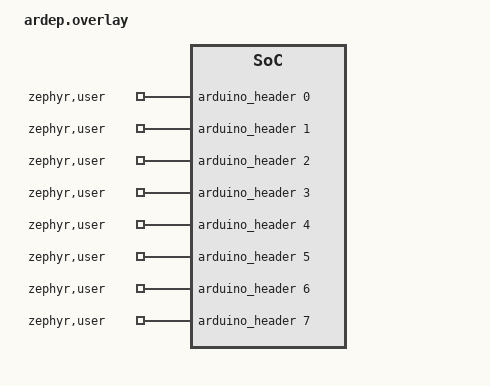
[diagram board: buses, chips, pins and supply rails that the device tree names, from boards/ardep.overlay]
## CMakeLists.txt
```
# SPDX-FileCopyrightText: Copyright (C) Frickly Systems GmbH
# SPDX-FileCopyrightText: Copyright (C) MBition GmbH
#
# SPDX-License-Identifier: Apache-2.0

cmake_minimum_required(VERSION 3.20.0)
find_package(Zephyr REQUIRED HINTS $ENV{ZEPHYR_BASE})
project(hardware_tester)

FILE(GLOB app_sources src/*.c)
target_sources(app PRIVATE ${app_sources})
```

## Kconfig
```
# Copyright (C) Frickly Systems GmbH
# Copyright (C) MBition GmbH
#
# SPDX-License-Identifier: Apache-2.0

menu "Zephyr"
source "Kconfig.zephyr"
endmenu

module = APP
module-str = APP
source "subsys/logging/Kconfig.template.log_config"

config POST_TEST_DELAY_MS
    int "Post-test delay in milliseconds"
    default 300
    help
      Delay after tests are finished and before the device is stopped (if applicable).

config LIN_TEST_DURATION_MS
    int "LIN test duration in milliseconds"
    default 5000
    help
      Duration for which the LIN tests will run.

config CAN_TEST_DURATION_MS
    int "CAN test duration in milliseconds"
    default 5000
    help
      Duration for which the CAN tests will run.

config UART_PRE_TEST_DELAY_MS
    int "UART pre-test delay in milliseconds"
    default 500
    help
      Delay before sending UART characters.

config UART_CHAR_DELAY_MS
    int "UART character delay in milliseconds"
    default 5
    help
      Delay between sending individual characters.

config GPIO_PRE_TEST_DELAY_MS
    int "GPIO pre-test delay in milliseconds"
    default 100
    help
      Delay before starting GPIO tests.

config GPIO_PIN_CHECK_DELAY_MS
    int "GPIO pin check delay in milliseconds"
    default 1
    help
      Delay between GPIO pin state checks.

config GPIO_PIN_ACTIVE_DELAY_MS
    int "GPIO pin active delay in milliseconds"
    default 3
    help
      Delay after pin becomes active before validation.

config GPIO_PIN_TIMEOUT_MS
    int "GPIO pin timeout in milliseconds"
    default 600
    help
      Timeout for waiting for GPIO pin to become active.
```

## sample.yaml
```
# Copyright (C) Frickly Systems GmbH
# Copyright (C) MBition GmbH

sample:
  name: Hardware Tester
  description: Firmware receiving test data from the SUT
common:
  build_only: true
  integration_platforms:
    - ardep
tests:
  sample.hardware_tester:
    integration_platforms:
      - ardep
```

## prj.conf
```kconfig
CONFIG_LOG=y
CONFIG_LOG_BACKEND_SHOW_COLOR=n
CONFIG_APP_LOG_LEVEL_INF=y
CONFIG_LOG_BUFFER_SIZE=2048

# get raw timestamp in [ms]
CONFIG_LOG_BACKEND_FORMAT_TIMESTAMP=n

CONFIG_SERIAL=y
CONFIG_UART_INTERRUPT_DRIVEN=y

CONFIG_CONSOLE_SUBSYS=y
CONFIG_CONSOLE_GETLINE=y

CONFIG_GPIO=y
CONFIG_HWINFO=y
CONFIG_CAN=y

# Disable UDS for no error logs
CONFIG_UDS=n

CONFIG_USB_DEVICE_PRODUCT="ARDEP Board TESTER"

CONFIG_CAN_TEST_DURATION_MS=2500
```

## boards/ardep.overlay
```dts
/*
 * SPDX-FileCopyrightText: Copyright (C) Frickly Systems GmbH
 * SPDX-FileCopyrightText: Copyright (C) MBition GmbH
 *
 * SPDX-License-Identifier: Apache-2.0
 */

/ {
    zephyr,user {
        gpios = <&arduino_header 0 (GPIO_ACTIVE_HIGH | GPIO_PULL_UP)>,
                <&arduino_header 1 (GPIO_ACTIVE_HIGH | GPIO_PULL_UP)>,
                <&arduino_header 2 (GPIO_ACTIVE_HIGH | GPIO_PULL_UP)>,
                <&arduino_header 3 (GPIO_ACTIVE_HIGH | GPIO_PULL_UP)>,
                <&arduino_header 4 (GPIO_ACTIVE_HIGH | GPIO_PULL_UP)>,
                <&arduino_header 5 (GPIO_ACTIVE_HIGH | GPIO_PULL_UP)>,
                <&arduino_header 6 (GPIO_ACTIVE_HIGH | GPIO_PULL_UP)>,
                <&arduino_header 7 (GPIO_ACTIVE_HIGH | GPIO_PULL_UP)>,
                <&arduino_header 8 (GPIO_ACTIVE_HIGH | GPIO_PULL_UP)>,
                <&arduino_header 9 (GPIO_ACTIVE_HIGH | GPIO_PULL_UP)>,
                <&arduino_header 10 (GPIO_ACTIVE_HIGH | GPIO_PULL_UP)>,
                <&arduino_header 11 (GPIO_ACTIVE_HIGH | GPIO_PULL_UP)>,
                <&arduino_header 12 (GPIO_ACTIVE_HIGH | GPIO_PULL_UP)>,
                <&arduino_header 13 (GPIO_ACTIVE_HIGH | GPIO_PULL_UP)>,
                <&arduino_header 14 (GPIO_ACTIVE_HIGH | GPIO_PULL_UP)>,
                <&arduino_header 15 (GPIO_ACTIVE_HIGH | GPIO_PULL_UP)>,
                <&arduino_header 16 (GPIO_ACTIVE_HIGH | GPIO_PULL_UP)>,
                <&arduino_header 17 (GPIO_ACTIVE_HIGH | GPIO_PULL_UP)>,
                <&arduino_header 18 (GPIO_ACTIVE_HIGH | GPIO_PULL_UP)>,
                <&arduino_header 19 (GPIO_ACTIVE_HIGH | GPIO_PULL_UP)>,
                <&arduino_header 20 (GPIO_ACTIVE_HIGH | GPIO_PULL_UP)>,
                <&arduino_header 21 (GPIO_ACTIVE_HIGH | GPIO_PULL_UP)>,

                <&gpioe 15 (GPIO_ACTIVE_HIGH | GPIO_PULL_UP)>, // HV Shield 1
                <&gpioe 14 (GPIO_ACTIVE_HIGH | GPIO_PULL_UP)>,
                <&gpioe 13 (GPIO_ACTIVE_HIGH | GPIO_PULL_UP)>,
                <&gpioe 12 (GPIO_ACTIVE_HIGH | GPIO_PULL_UP)>, // HV 4
                <&gpioe 11 (GPIO_ACTIVE_HIGH | GPIO_PULL_UP)>, // HV 7
                <&gpioe 10 (GPIO_ACTIVE_HIGH | GPIO_PULL_UP)>,
                <&gpioe 9 (GPIO_ACTIVE_HIGH | GPIO_PULL_UP)>,
                <&gpioe 8 (GPIO_ACTIVE_HIGH | GPIO_PULL_UP)>,
                <&gpioe 7 (GPIO_ACTIVE_HIGH | GPIO_PULL_UP)>,
                <&gpiob 2 (GPIO_ACTIVE_HIGH | GPIO_PULL_UP)>,
                <&gpiob 1 (GPIO_ACTIVE_HIGH | GPIO_PULL_UP)>,
                <&gpioc 5 (GPIO_ACTIVE_HIGH | GPIO_PULL_UP)>, // HV 14
                <&gpioc 4 (GPIO_ACTIVE_HIGH | GPIO_PULL_UP)>, // HV 17
                <&gpioa 6 (GPIO_ACTIVE_HIGH | GPIO_PULL_UP)>, // HV 19
                <&gpioa 5 (GPIO_ACTIVE_HIGH | GPIO_PULL_UP)>,
                <&gpioa 4 (GPIO_ACTIVE_HIGH | GPIO_PULL_UP)>,
                <&gpioa 2 (GPIO_ACTIVE_HIGH | GPIO_PULL_UP)>,
                <&gpioa 0 (GPIO_ACTIVE_HIGH | GPIO_PULL_UP)>,
                <&gpiof 2 (GPIO_ACTIVE_HIGH | GPIO_PULL_UP)>,
                <&gpioc 2 (GPIO_ACTIVE_HIGH | GPIO_PULL_UP)>,
                <&gpioc 0 (GPIO_ACTIVE_HIGH | GPIO_PULL_UP)>, // HV 26
                <&gpiof 10 (GPIO_ACTIVE_HIGH | GPIO_PULL_UP)>, // HV 29
                <&gpiof 9 (GPIO_ACTIVE_HIGH | GPIO_PULL_UP)>,
                <&gpioc 15 (GPIO_ACTIVE_HIGH | GPIO_PULL_UP)>,
                <&gpioc 14 (GPIO_ACTIVE_HIGH | GPIO_PULL_UP)> // HV 3
                ;
                
        uarts = <&uart_a>, 
                <&uart_b>;
        
        cans = <&can_a>,
               <&can_b>;
               
        lins = <&lin_uart>;
    };
};

&arduino_i2c {
    status = "disabled";
};

&arduino_spi {
    status = "disabled";
};

&arduino_serial {
    status = "disabled";
};

&adc1 {
    status = "disabled";
};

&adc2 {
    status = "disabled";
};

&adc3 {
    status = "disabled";
};

&adc4 {
    status = "disabled";
};

&dac1 {
    status = "disabled";
};

&dac2 {
    status = "disabled";
};
```

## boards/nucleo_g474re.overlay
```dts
/*
 * SPDX-FileCopyrightText: Copyright (C) Frickly Systems GmbH
 * SPDX-FileCopyrightText: Copyright (C) MBition GmbH
 *
 * SPDX-License-Identifier: Apache-2.0
 */

/ {
    zephyr,user {
        gpios = <&gpioc 1 GPIO_ACTIVE_HIGH>,
                <&gpioc 5 GPIO_ACTIVE_HIGH>,
                <&gpiob 2 GPIO_ACTIVE_HIGH>;

        uarts = // <&usart1>,
                <&usart2>;

        cans = <&can_a>;

        lins = <&usart2>;
    };
};

&usart1 {
    pinctrl-0 = <&usart1_tx_pc4 &usart1_rx_pc5>;
    pinctrl-names = "default";
    current-speed = <115200>;
    status = "okay";
};

&usart2 {
    pinctrl-0 = <&usart2_tx_pb3 &usart2_rx_pb4>;
    pinctrl-names = "default";
    current-speed = <115200>;
    status = "okay";
};

can_a: &fdcan1 {
    bitrate = <500000>;
    bitrate-data = <2000000>;
    status = "okay";
};
```

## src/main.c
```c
/*
 * SPDX-FileCopyrightText: Copyright (C) Frickly Systems GmbH
 * SPDX-FileCopyrightText: Copyright (C) MBition GmbH
 *
 * SPDX-License-Identifier: Apache-2.0
 */

#include "zephyr/devicetree.h"
#include "zephyr/drivers/gpio.h"
#include "zephyr/logging/log.h"
#include "zephyr/sys/printk.h"

#include <string.h>

#include <zephyr/console/console.h>
#include <zephyr/kernel.h>

#define LOG_MODULE_NAME tester
LOG_MODULE_REGISTER(LOG_MODULE_NAME, CONFIG_APP_LOG_LEVEL);

#define COMMAND_MAX_LEN 64
#define COMMAND_QUEUE_LEN 4
#define COMMAND_RECEIVER_STACK_SIZE 1024
#define COMMAND_DISPATCH_STACK_SIZE 2048

K_MSGQ_DEFINE(command_queue, COMMAND_MAX_LEN, COMMAND_QUEUE_LEN, 4);
K_MUTEX_DEFINE(command_mutex);

K_THREAD_STACK_DEFINE(command_receiver_stack, COMMAND_RECEIVER_STACK_SIZE);
K_THREAD_STACK_DEFINE(command_dispatch_stack, COMMAND_DISPATCH_STACK_SIZE);

static struct k_thread command_receiver_thread_data;
static struct k_thread command_dispatch_thread_data;

void gpio_test(void);
void log_hardware_info(void);
void uart_test(void);
void can_test(void);
void lin_test(void);

static void command_receiver_thread(void* p1, void* p2, void* p3);
static void command_dispatch_thread(void* p1, void* p2, void* p3);

int main() {
  console_getline_init();
  LOG_INF("Test Runner Firmware started");

  k_tid_t receiver_tid = k_thread_create(
      &command_receiver_thread_data, command_receiver_stack,
      K_THREAD_STACK_SIZEOF(command_receiver_stack), command_receiver_thread,
      NULL, NULL, NULL, K_PRIO_PREEMPT(1), 0, K_NO_WAIT);

  k_tid_t dispatch_tid = k_thread_create(
      &command_dispatch_thread_data, command_dispatch_stack,
      K_THREAD_STACK_SIZEOF(command_dispatch_stack), command_dispatch_thread,
      NULL, NULL, NULL, K_PRIO_PREEMPT(1), 0, K_NO_WAIT);

  k_thread_name_set(receiver_tid, "cmd_rx");
  k_thread_name_set(dispatch_tid, "cmd_dispatch");

  while (true) {
    k_msleep(1000);
  }
}

static void execute_command(const char* command) {
  if (strcmp(command, "hwInfo start") == 0) {
    LOG_INF("hwInfo start");
    log_hardware_info();
    LOG_INF("hwInfo stop");
  } else if (strcmp(command, "gpio start") == 0) {
    LOG_INF("gpio start");
    gpio_test();
    LOG_INF("gpio stop");
  } else if (strcmp(command, "can start") == 0) {
    LOG_INF("can start");
    can_test();
    LOG_INF("can stop");
  } else if (strcmp(command, "lin start") == 0) {
    LOG_INF("lin start");
    lin_test();
    LOG_INF("lin stop");
  } else if (strcmp(command, "uart start") == 0) {
    LOG_INF("uart start");
    uart_test();
    LOG_INF("uart stop");
  } else {
    LOG_ERR("Unknown command: %s", command);
  }
}

static void dispatch_command(const char* command) {
  int err = k_mutex_lock(&command_mutex, K_FOREVER);

  if (err != 0) {
    LOG_ERR("Failed to lock command mutex (err %d)", err);
    return;
  }

  execute_command(command);

  err = k_mutex_unlock(&command_mutex);
  if (err != 0) {
    LOG_ERR("Failed to unlock command mutex (err %d)", err);
  }
}

static void handle_console_input(void) {
  char* input = console_getline();

  if (input == NULL) {
    return;
  }

  size_t length = strlen(input);
  if (length >= COMMAND_MAX_LEN) {
    LOG_WRN("Command too long, will be truncated");
  }

  char command[COMMAND_MAX_LEN];
  memset(command, 0, sizeof(command));
  strncpy(command, input, sizeof(command) - 1);

  if (strcmp("idle", command) == 0) {
    int err = k_mutex_lock(&command_mutex, K_NO_WAIT);
    if (err != 0) {
      LOG_INF("idle false");
    } else {
      LOG_INF("idle true");
    }
    k_mutex_unlock(&command_mutex);

    return;
  }

  int err = k_msgq_put(&command_queue, command, K_FOREVER);
  if (err != 0) {
    LOG_ERR("Failed to enqueue command (err %d)", err);
  }
}

static void command_receiver_thread(void* p1, void* p2, void* p3) {
  ARG_UNUSED(p1);
  ARG_UNUSED(p2);
  ARG_UNUSED(p3);

  while (true) {
    handle_console_input();
  }
}

static void command_dispatch_thread(void* p1, void* p2, void* p3) {
  ARG_UNUSED(p1);
  ARG_UNUSED(p2);
  ARG_UNUSED(p3);

  char command[COMMAND_MAX_LEN];

  while (true) {
    int err = k_msgq_get(&command_queue, command, K_FOREVER);

    if (err != 0) {
      LOG_ERR("Failed to retrieve command (err %d)", err);
      continue;
    }

    command[COMMAND_MAX_LEN - 1] = '\0';

    dispatch_command(command);
  }
}
```

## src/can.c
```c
/*
 * SPDX-FileCopyrightText: Copyright (C) Frickly Systems GmbH
 * SPDX-FileCopyrightText: Copyright (C) MBition GmbH
 *
 * SPDX-License-Identifier: Apache-2.0
 */

#include "zephyr/device.h"
#include "zephyr/devicetree.h"
#include "zephyr/drivers/can.h"
#include "zephyr/logging/log.h"
#include "zephyr/sys/printk.h"

#include <zephyr/kernel.h>

#define LOG_MODULE_NAME tester
LOG_MODULE_DECLARE(LOG_MODULE_NAME, CONFIG_APP_LOG_LEVEL);

#define DEVICE_DT_BY_PROP_IDX(node_id, prop, idx) \
  DEVICE_DT_GET(DT_PHANDLE_BY_IDX(node_id, prop, idx))

#define ZEPHYR_USER_NODE DT_PATH(zephyr_user)

static const struct device* const can_devices[] = {DT_FOREACH_PROP_ELEM_SEP(
    ZEPHYR_USER_NODE, cans, DEVICE_DT_BY_PROP_IDX, (, ))};

static int rx_filters[ARRAY_SIZE(can_devices)];

static void rx_callback(const struct device* dev,
                        struct can_frame* frame,
                        void* user_data) {
  LOG_INF("%s: frame id: %x, data: %x", dev->name, frame->id, frame->data[0]);
}

const struct can_filter receive_frame_filter = {
  .flags = 0, .id = 0x65, .mask = CAN_STD_ID_MASK};

static void init_can(void) {
  for (int i = 0; i < ARRAY_SIZE(can_devices); i++) {
    const struct device* dev = can_devices[i];
    int err;

    if (!device_is_ready(dev)) {
      LOG_ERR("%s: device not ready", dev->name);
      continue;
    }

    err = can_start(dev);
    if (err != 0) {
      LOG_ERR("%s: error starting CAN controller (err %d)", dev->name, err);
      continue;
    }

    rx_filters[i] =
        can_add_rx_filter(dev, rx_callback, NULL, &receive_frame_filter);
    if (rx_filters[i] < 0) {
      LOG_ERR("%s: error adding rx filter (err %d)", dev->name, rx_filters[i]);
    }
  }
}

static void run_test(void) { k_msleep(CONFIG_CAN_TEST_DURATION_MS); }

static void stop_can(void) {
  for (int i = 0; i < ARRAY_SIZE(can_devices); i++) {
    can_remove_rx_filter(can_devices[i], rx_filters[i]);
    can_stop(can_devices[i]);
  }
}

void can_test(void) {
  init_can();

  run_test();

  k_msleep(CONFIG_POST_TEST_DELAY_MS);
  stop_can();
}
```

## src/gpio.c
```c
/*
 * SPDX-FileCopyrightText: Copyright (C) Frickly Systems GmbH
 * SPDX-FileCopyrightText: Copyright (C) MBition GmbH
 *
 * SPDX-License-Identifier: Apache-2.0
 */

#include "zephyr/devicetree.h"
#include "zephyr/drivers/gpio.h"
#include "zephyr/logging/log.h"

#include <zephyr/kernel.h>

#define LOG_MODULE_NAME tester
LOG_MODULE_DECLARE(LOG_MODULE_NAME, CONFIG_APP_LOG_LEVEL);

#define ZEPHYR_USER_NODE DT_PATH(zephyr_user)

static const struct gpio_dt_spec gpios[] = {DT_FOREACH_PROP_ELEM_SEP(
    ZEPHYR_USER_NODE, gpios, GPIO_DT_SPEC_GET_BY_IDX, (, ))};

static void configure_gpios() {
  // all pins as output
  for (int i = 0; i < ARRAY_SIZE(gpios); i++) {
    int ret = gpio_pin_configure_dt(&gpios[i], GPIO_INPUT);
    if (ret != 0) {
      LOG_ERR("failed to configure pin %d of device %s", gpios[i].pin,
              gpios[i].port->name);
    }
  }
}

static void execute_test() {
  for (int i = 0; i < ARRAY_SIZE(gpios); i++) {
    // save start timestamp
    uint32_t start = k_uptime_get_32();

    // wait for pin to get active
    while (gpio_pin_get(gpios[i].port, gpios[i].pin) == 0) {
      k_msleep(CONFIG_GPIO_PIN_CHECK_DELAY_MS);

      // timeout after configured timeout
      if (k_uptime_get_32() - start > CONFIG_GPIO_PIN_TIMEOUT_MS) {
        LOG_ERR("pin %d of device %s did not get active", gpios[i].pin,
                gpios[i].port->name);
        break;
      }
    }

    k_msleep(CONFIG_GPIO_PIN_ACTIVE_DELAY_MS);

    // validate that all other pins are inactive
    for (int j = 0; j < ARRAY_SIZE(gpios); j++) {
      if (i == j) {
        continue;
      }

      if (gpio_pin_get(gpios[j].port, gpios[j].pin) != 0) {
        LOG_ERR("pin %d of device %s is active", gpios[j].pin,
                gpios[j].port->name);
      }
    }
  }
}

void gpio_test(void) {
  k_msleep(CONFIG_GPIO_PRE_TEST_DELAY_MS);
  configure_gpios();
  execute_test();

  k_msleep(CONFIG_POST_TEST_DELAY_MS);
}
```

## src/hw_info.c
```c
/*
 * SPDX-FileCopyrightText: Copyright (C) Frickly Systems GmbH
 * SPDX-FileCopyrightText: Copyright (C) MBition GmbH
 *
 * SPDX-License-Identifier: Apache-2.0
 */

#include "zephyr/drivers/hwinfo.h"
#include "zephyr/kernel.h"
#include "zephyr/logging/log.h"

#define LOG_MODULE_NAME tester
LOG_MODULE_DECLARE(LOG_MODULE_NAME, CONFIG_APP_LOG_LEVEL);

uint8_t hw_info[60];

void log_hardware_info(void) {
  ssize_t length = hwinfo_get_device_id(hw_info, 60);

  char hex_string[length * 2 + 1];
  for (int i = 0; i < length; i++) {
    sprintf(&hex_string[i * 2], "%02X", hw_info[i]);
  }
  hex_string[length * 2] = '\0';

  uint8_t i;
  for (i = 0; i < 60; i++) {
    hw_info[i] = 0;
  }

  LOG_INF("id: %s", hex_string);
}
```

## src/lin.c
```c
/*
 * SPDX-FileCopyrightText: Copyright (C) Frickly Systems GmbH
 * SPDX-FileCopyrightText: Copyright (C) MBition GmbH
 *
 * SPDX-License-Identifier: Apache-2.0
 */

#include "zephyr/devicetree.h"
#include "zephyr/logging/log.h"
#include "zephyr/sys/printk.h"

#include <zephyr/console/console.h>
#include <zephyr/device.h>
#include <zephyr/drivers/uart.h>
#include <zephyr/kernel.h>

#define LOG_MODULE_NAME tester
LOG_MODULE_DECLARE(LOG_MODULE_NAME, CONFIG_APP_LOG_LEVEL);

#define ZEPHYR_USER_NODE DT_PATH(zephyr_user)

#define DEVICE_DT_BY_PROP_IDX(node_id, prop, idx) \
  DEVICE_DT_GET(DT_PHANDLE_BY_IDX(node_id, prop, idx))

static const struct device* const lin_devices[] = {DT_FOREACH_PROP_ELEM_SEP(
    ZEPHYR_USER_NODE, lins, DEVICE_DT_BY_PROP_IDX, (, ))};

static void uart_interrupt_callback(const struct device* dev, void* user_data) {
  uint8_t byte;

  if (!uart_irq_update(dev)) {
    return;
  }

  if (!uart_irq_rx_ready(dev)) {
    return;
  }

  while (uart_fifo_read(dev, &byte, 1) == 1) {
    LOG_INF("%s received %c", dev->name, byte);
  }
}

static void setup_uarts() {
  for (int i = 0; i < ARRAY_SIZE(lin_devices); i++) {
    const struct device* dev = lin_devices[i];
    if (!device_is_ready(dev)) {
      LOG_ERR("%s: UART device not ready", dev->name);
      continue;
    }

    char byte;
    while (uart_fifo_read(dev, &byte, 1) == 1) {
    }

    int ret =
        uart_irq_callback_user_data_set(dev, uart_interrupt_callback, NULL);

    if (ret < 0) {
      if (ret == -ENOTSUP) {
        LOG_ERR("%s: Interrupt-driven UART API support not enabled", dev->name);
      } else if (ret == -ENOSYS) {
        LOG_ERR("%s: UART device does not support interrupt-driven API",
                dev->name);
      } else {
        LOG_ERR("%s: Error setting UART callback: %d", dev->name, ret);
      }
      continue;
    }
    uart_irq_rx_enable(dev);
  }
}

static void execute_test() {
  // wait for incoming messages
  k_msleep(CONFIG_CAN_TEST_DURATION_MS);
}

static void disable_uart_interrupts() {
  for (int i = 0; i < ARRAY_SIZE(lin_devices); i++) {
    uart_irq_rx_disable(lin_devices[i]);
  }
}

void lin_test(void) {
  setup_uarts();
  execute_test();
  disable_uart_interrupts();
  k_msleep(CONFIG_POST_TEST_DELAY_MS);
}
```

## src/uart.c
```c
/*
 * SPDX-FileCopyrightText: Copyright (C) Frickly Systems GmbH
 * SPDX-FileCopyrightText: Copyright (C) MBition GmbH
 *
 * SPDX-License-Identifier: Apache-2.0
 */

#include "zephyr/devicetree.h"
#include "zephyr/logging/log.h"
#include "zephyr/sys/printk.h"

#include <zephyr/console/console.h>
#include <zephyr/device.h>
#include <zephyr/drivers/uart.h>
#include <zephyr/kernel.h>

#define LOG_MODULE_NAME tester
LOG_MODULE_DECLARE(LOG_MODULE_NAME, CONFIG_APP_LOG_LEVEL);

#define ZEPHYR_USER_NODE DT_PATH(zephyr_user)

#define DEVICE_DT_BY_PROP_IDX(node_id, prop, idx) \
  DEVICE_DT_GET(DT_PHANDLE_BY_IDX(node_id, prop, idx))

static const struct device* const uart_devices[] = {DT_FOREACH_PROP_ELEM_SEP(
    ZEPHYR_USER_NODE, uarts, DEVICE_DT_BY_PROP_IDX, (, ))};

static void uart_interrupt_callback(const struct device* dev, void* user_data) {
  uint8_t byte;

  if (!uart_irq_update(dev)) {
    return;
  }

  if (!uart_irq_rx_ready(dev)) {
    return;
  }

  while (uart_fifo_read(dev, &byte, 1) == 1) {
    LOG_INF("%s received %c", dev->name, byte);
  }
}

void setup_uarts() {
  for (int i = 0; i < ARRAY_SIZE(uart_devices); i++) {
    const struct device* dev = uart_devices[i];
    if (!device_is_ready(dev)) {
      LOG_ERR("%s: UART device not ready", dev->name);
      continue;
    }

    char byte;
    while (uart_fifo_read(dev, &byte, 1) == 1) {
    }

    int ret =
        uart_irq_callback_user_data_set(dev, uart_interrupt_callback, NULL);

    if (ret < 0) {
      if (ret == -ENOTSUP) {
        LOG_ERR("%s: Interrupt-driven UART API support not enabled", dev->name);
      } else if (ret == -ENOSYS) {
        LOG_ERR("%s: UART device does not support interrupt-driven API",
                dev->name);
      } else {
        LOG_ERR("%s: Error setting UART callback: %d", dev->name, ret);
      }
      continue;
    }
    uart_irq_rx_enable(dev);
  }
}

void send_characters() {
  const char* message = "frickly";
  for (int i = 0; i < ARRAY_SIZE(uart_devices); i++) {
    const struct device* dev = uart_devices[i];
    for (int j = 0; j < strlen(message); j++) {
      LOG_INF("%s sending: %c", dev->name, message[j]);
      uart_poll_out(dev, message[j]);
      k_msleep(CONFIG_UART_CHAR_DELAY_MS);
    }
  }
}

void disable_uart_interrupts() {
  for (int i = 0; i < ARRAY_SIZE(uart_devices); i++) {
    uart_irq_rx_disable(uart_devices[i]);
  }
}

void uart_test(void) {
  setup_uarts();
  k_msleep(CONFIG_UART_PRE_TEST_DELAY_MS);
  send_characters();
  k_msleep(CONFIG_POST_TEST_DELAY_MS);
  disable_uart_interrupts();
  k_msleep(CONFIG_POST_TEST_DELAY_MS);
}
```
